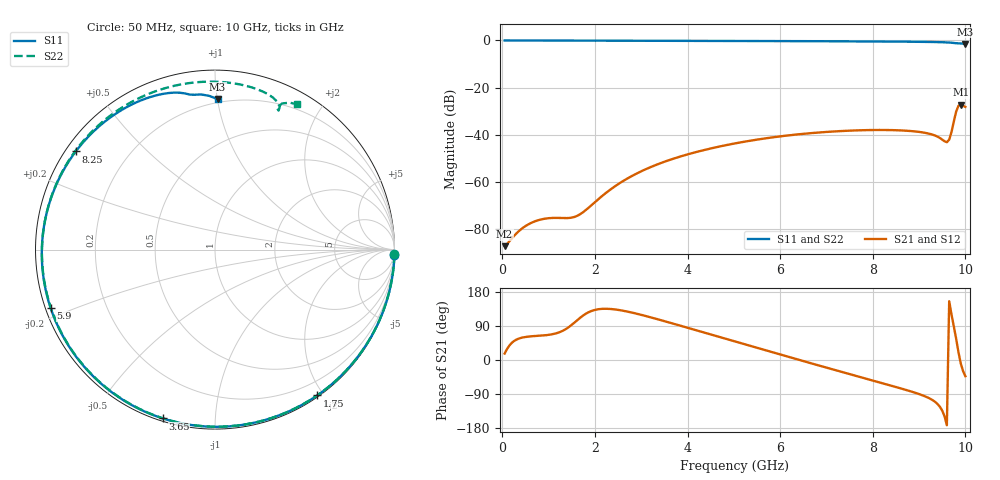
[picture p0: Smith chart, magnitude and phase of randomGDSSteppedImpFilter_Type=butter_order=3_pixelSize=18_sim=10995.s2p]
! freq	dB(S11)	phase(S11)	dB(S12)	phase(S12)
!  dB(S21)	phase(S21)	dB(S22)	phase(S22)
!S-par simulation data
#  GHz  S  DB  R 50
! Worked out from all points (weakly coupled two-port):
!   200 points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, 50 MHz to 10 GHz, reference 50 ohm
!   highest |S21| = -27.25 dB at 9.9 GHz (marker M1); lowest = -87.1 dB at 50 MHz (marker M2)
!   lowest |S11| = -1.5 dB at 10 GHz (marker M3), VSWR 11.40, Z = 8.85 + j50.1 ohm
!   |S11| at or under -10 dB: nowhere
!   |S22| runs from -1.4 to 0.0 dB; largest |S21 - S12| = 0
!   S11 on the Smith chart (normalised r, x): 50 MHz: 0, -71; 1.75 GHz: 0.02, -1.92; 3.65 GHz: 0.01, -0.74; 5.9 GHz: 0.01, -0.17; 8.25 GHz: 0.03, +0.32; 10 GHz: 0.18, +1.00
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0.05  -0.00 -1.6  -87.13 17.0  -87.13 17.0  -0.00 -1.5
0.4  -0.01 -13.0  -80.05 58.2  -80.05 58.2  -0.01 -12.1
0.85  -0.03 -27.3  -75.76 64.4  -75.76 64.4  -0.03 -25.5
1.5  -0.06 -47.5  -75.03 92.8  -75.03 92.8  -0.06 -44.6
1.75  -0.07 -55.0  -72.66 117.8  -72.66 117.8  -0.07 -51.8
2.55  -0.10 -78.0  -60.25 131.3  -60.25 131.3  -0.09 -74.5
3.4  -0.12 -100.8  -52.10 106.0  -52.10 106.0  -0.13 -97.8
3.65  -0.13 -107.2  -50.37 97.4  -50.37 97.4  -0.14 -104.6
4.35  -0.16 -124.5  -46.45 72.8  -46.45 72.8  -0.17 -123.4
5.05  -0.20 -141.0  -43.51 48.2  -43.51 48.2  -0.21 -142.1
5.9  -0.25 -160.4  -40.88 18.2  -40.88 18.2  -0.28 -165.4
6.7  -0.31 -178.6  -39.20 -9.8  -39.20 -9.8  -0.34 171.5
7.45  -0.37 164.1  -38.24 -35.5  -38.24 -35.5  -0.41 148.4
8.25  -0.45 144.8  -37.92 -62.7  -37.92 -62.7  -0.49 121.8
8.35  -0.47 142.3  -37.94 -66.1  -37.94 -66.1  -0.50 118.3
9.15  -0.60 120.8  -39.20 -97.0  -39.20 -97.0  -0.58 89.0
9.6  -0.82 106.4  -43.09 -172.2  -43.09 -172.2  -0.77 71.2
9.65  -0.88 104.5  -42.02 155.1  -42.02 155.1  -0.85 69.2
9.8  -1.17 99.1  -30.16 56.4  -30.16 56.4  -1.39 65.4
9.85  -1.21 97.5  -27.67 20.8  -27.67 20.8  -1.30 66.3
9.9  -1.23 95.1  -27.25 -9.1  -27.25 -9.1  -0.96 65.4
10  -1.53 89.0  -28.13 -42.8  -28.13 -42.8  -0.63 60.4
